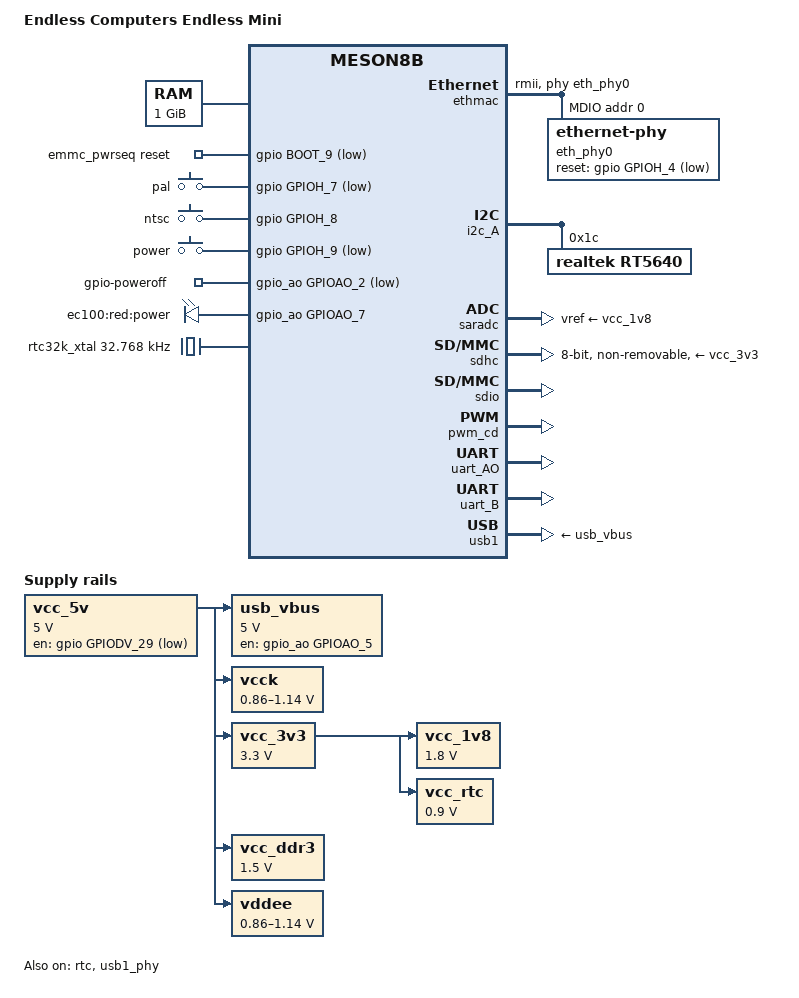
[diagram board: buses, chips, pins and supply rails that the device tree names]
// SPDX-License-Identifier: (GPL-2.0+ OR MIT)
/*
 * Copyright (c) 2018 Martin Blumenstingl <martin.blumenstingl@googlemail.com>.
 */

/dts-v1/;

#include <dt-bindings/gpio/gpio.h>
#include <dt-bindings/input/input.h>

#include "meson8b.dtsi"

/ {
	model = "Endless Computers Endless Mini";
	compatible = "endless,ec100", "amlogic,meson8b";

	aliases {
		serial0 = &uart_AO;
	};

	chosen {
		stdout-path = "serial0:115200n8";
	};

	memory {
		device_type = "memory";
		reg = <0x40000000 0x40000000>;
	};

	emmc_pwrseq: emmc-pwrseq {
		compatible = "mmc-pwrseq-emmc";
		reset-gpios = <&gpio BOOT_9 GPIO_ACTIVE_LOW>;
	};

	gpio-keys {
		compatible = "gpio-keys-polled";
		#address-cells = <1>;
		#size-cells = <0>;
		poll-interval = <100>;

		pal-switch {
			label = "pal";
			linux,input-type = <EV_SW>;
			linux,code = <KEY_SWITCHVIDEOMODE>;
			gpios = <&gpio GPIOH_7 GPIO_ACTIVE_LOW>;
		};

		ntsc-switch {
			label = "ntsc";
			linux,input-type = <EV_SW>;
			linux,code = <KEY_SWITCHVIDEOMODE>;
			gpios = <&gpio GPIOH_8 GPIO_ACTIVE_HIGH>;
		};

		power-button {
			label = "power";
			linux,code = <KEY_POWER>;
			gpios = <&gpio GPIOH_9 GPIO_ACTIVE_LOW>;
		};
	};

	gpio-poweroff {
		compatible = "gpio-poweroff";
		/*
		 * shutdown is managed by the EC (embedded micro-controller)
		 * which is configured through GPIOAO_2 (poweroff GPIO) and
		 * GPIOAO_7 (power LED, which has to go LOW as well).
		 */
		gpios = <&gpio_ao GPIOAO_2 GPIO_ACTIVE_LOW>;
		timeout-ms = <20000>;
	};

	leds {
		compatible = "gpio-leds";

		power {
			label = "ec100:red:power";
			/*
			 * Needs to go LOW (together with the poweroff GPIO)
			 * during shutdown to allow the EC (embedded
			 * micro-controller) to shutdown the system. Setting
			 * the output to LOW signals the EC to start a
			 * "breathing"/pulsing effect until the power is fully
			 * turned off.
			 */
			gpios = <&gpio_ao GPIOAO_7 GPIO_ACTIVE_HIGH>;
			default-state = "on";
		};
	};

	rtc32k_xtal: rtc32k-xtal-clk {
		/* X2 in the schematics */
		compatible = "fixed-clock";
		clock-frequency = <32768>;
		clock-output-names = "RTC32K";
		#clock-cells = <0>;
	};

	usb_vbus: regulator-usb-vbus {
		/*
		 * Silergy SY6288CCAC-GP 2A Power Distribution Switch.
		 */
		compatible = "regulator-fixed";

		regulator-name = "USB_VBUS";

		regulator-min-microvolt = <5000000>;
		regulator-max-microvolt = <5000000>;

		vin-supply = <&vcc_5v>;

		/*
		 * signal name from the schematics: USB_PWR_EN
		 */
		gpio = <&gpio_ao GPIOAO_5 GPIO_ACTIVE_HIGH>;
		enable-active-high;
	};

	vcc_5v: regulator-vcc5v {
		/*
		 * supplied by the main power input which called PWR_5V_STB
		 * in the schematics
		 */
		compatible = "regulator-fixed";

		regulator-name = "VCC5V";

		regulator-min-microvolt = <5000000>;
		regulator-max-microvolt = <5000000>;

		/*
		 * signal name from the schematics: 3V3_5V_EN
		 */
		gpio = <&gpio GPIODV_29 GPIO_ACTIVE_LOW>;

		regulator-boot-on;
		regulator-always-on;
	};

	vcck: regulator-vcck {
		/*
		 * Silergy SY8089AAC-GP 2A continuous, 3A peak, 1MHz
		 * Synchronous Step Down Regulator.
		 */
		compatible = "pwm-regulator";

		regulator-name = "VCCK";
		regulator-min-microvolt = <860000>;
		regulator-max-microvolt = <1140000>;

		vin-supply = <&vcc_5v>;

		pwms = <&pwm_cd 0 1148 0>;
		pwm-dutycycle-range = <100 0>;

		regulator-boot-on;
		regulator-always-on;
	};

	vcc_1v8: regulator-vcc1v8 {
		/*
		 * ABLIC S-1339D18-M5001-GP
		 */
		compatible = "regulator-fixed";

		regulator-name = "VCC1V8";
		regulator-min-microvolt = <1800000>;
		regulator-max-microvolt = <1800000>;

		vin-supply = <&vcc_3v3>;
	};

	vcc_3v3: regulator-vcc3v3 {
		/*
		 * Silergy SY8089AAC-GP 2A continuous, 3A peak, 1MHz
		 * Synchronous Step Down Regulator. Also called
		 * VDDIO_AO3.3V in the schematics.
		 */
		compatible = "regulator-fixed";

		regulator-name = "VCC3V3";
		regulator-min-microvolt = <3300000>;
		regulator-max-microvolt = <3300000>;

		vin-supply = <&vcc_5v>;
	};

	vcc_ddr3: regulator-vcc-ddr3 {
		/*
		 * Silergy SY8089AAC-GP 2A continuous, 3A peak, 1MHz
		 * Synchronous Step Down Regulator. Also called
		 * DDR3_1.5V in the schematics.
		 */
		compatible = "regulator-fixed";

		regulator-name = "VCC_DDR3_1V5";
		regulator-min-microvolt = <1500000>;
		regulator-max-microvolt = <1500000>;

		vin-supply = <&vcc_5v>;

		regulator-boot-on;
		regulator-always-on;
	};

	vcc_rtc: regulator-vcc-rtc {
		/*
		 * Global Mixed-mode Technology Inc. G918T12U-GP
		 */
		compatible = "regulator-fixed";

		regulator-name = "VCC_RTC";
		regulator-min-microvolt = <900000>;
		regulator-max-microvolt = <900000>;

		/*
		 * When the board is powered then the input is VCC3V3,
		 * otherwise power is taken from the coin cell battery.
		 */
		vin-supply = <&vcc_3v3>;
	};

	vddee: regulator-vddee {
		/*
		 * Silergy SY8089AAC-GP 2A continuous, 3A peak, 1MHz
		 * Synchronous Step Down Regulator. Also called VDDAO
		 * in a part of the schematics.
		 */
		compatible = "pwm-regulator";

		regulator-name = "VDDEE";
		regulator-min-microvolt = <860000>;
		regulator-max-microvolt = <1140000>;

		vin-supply = <&vcc_5v>;

		pwms = <&pwm_cd 1 1148 0>;
		pwm-dutycycle-range = <100 0>;

		regulator-boot-on;
		regulator-always-on;
	};
};

&cpu0 {
	cpu-supply = <&vcck>;
};

&ethmac {
	status = "okay";

	pinctrl-0 = <&eth_rmii_pins>;
	pinctrl-names = "default";

	phy-handle = <&eth_phy0>;
	phy-mode = "rmii";

	mdio {
		compatible = "snps,dwmac-mdio";
		#address-cells = <1>;
		#size-cells = <0>;

		eth_phy0: ethernet-phy@0 {
			/* IC Plus IP101A/G (0x02430c54) */
			reg = <0>;

			reset-assert-us = <10000>;
			reset-deassert-us = <10000>;
			reset-gpios = <&gpio GPIOH_4 GPIO_ACTIVE_LOW>;

			icplus,select-interrupt;
			interrupt-parent = <&gpio_intc>;
			/* GPIOH_3 */
			interrupts = <17 IRQ_TYPE_LEVEL_LOW>;
		};
	};
};

&i2c_A {
	status = "okay";
	pinctrl-0 = <&i2c_a_pins>;
	pinctrl-names = "default";

	rt5640: codec@1c {
		compatible = "realtek,rt5640";
		reg = <0x1c>;
		interrupt-parent = <&gpio_intc>;
		interrupts = <13 IRQ_TYPE_EDGE_BOTH>; /* GPIOAO_13 */
		realtek,in1-differential;
	};
};

&mali {
	mali-supply = <&vddee>;
};

&saradc {
	status = "okay";
	vref-supply = <&vcc_1v8>;
};

&sdhc {
	status = "okay";

	pinctrl-0 = <&sdxc_c_pins>;
	pinctrl-names = "default";

	bus-width = <8>;
	max-frequency = <50000000>;

	cap-mmc-highspeed;
	disable-wp;
	non-removable;
	no-sdio;

	mmc-pwrseq = <&emmc_pwrseq>;

	vmmc-supply = <&vcc_3v3>;
	vqmmc-supply = <&vcc_3v3>;
};

&sdio {
	status = "okay";

	pinctrl-0 = <&sd_b_pins>;
	pinctrl-names = "default";

	/* SD card */
	sd_card_slot: slot@1 {
		compatible = "mmc-slot";
		reg = <1>;
		status = "okay";

		bus-width = <4>;
		no-sdio;
		cap-mmc-highspeed;
		cap-sd-highspeed;
		disable-wp;

		cd-gpios = <&gpio CARD_6 GPIO_ACTIVE_LOW>;

		vmmc-supply = <&vcc_3v3>;
	};
};

&gpio_ao {
	gpio-line-names = "Linux_TX", "Linux_RX",
			  "SLP_S5_N", "USB2_OC_FLAG#",
			  "HUB_RST", "USB_PWR_EN",
			  "I2S_IN", "SLP_S1_N",
			  "TCK", "TMS", "TDI", "TDO",
			  "HDMI_CEC", "5640_IRQ",
			  "MUTE", "S805_TEST#";
};

&gpio {
	gpio-line-names = /* Bank GPIOX */
			  "WIFI_SD_D0", "WIFI_SD_D1", "WIFI_SD_D2",
			  "WIFI_SD_D3", "BTPCM_DOUT", "BTPCM_DIN",
			  "BTPCM_SYNC", "BTPCM_CLK", "WIFI_SD_CLK",
			  "WIFI_SD_CMD", "WIFI_32K", "WIFI_PWREN",
			  "UART_B_TX", "UART_B_RX", "UART_B_CTS_N",
			  "UART_B_RTS_N", "BT_EN", "WIFI_WAKE_HOST",
			  /* Bank GPIOY */
			  "", "", "", "", "", "", "", "", "", "",
			  "", "",
			  /* Bank GPIODV */
			  "VCCK_PWM_C", "I2C_SDA_A", "I2C_SCL_A",
			  "I2C_SDA_B", "I2C_SCL_B", "VDDEE_PWM_D",
			  "VDDEE_PWM 3V3_5V_EN",
			  /* Bank GPIOH */
			  "HDMI_HPD", "HDMI_I2C_SDA", "HDMI_I2C_SCL",
			  "RMII_IRQ", "RMII_RST#", "RMII_TXD1",
			  "RMII_TXD0", "AV_select_1", "AV_select_2",
			  "MCU_Control_S",
			  /* Bank CARD */
			  "SD_D1_B", "SD_D0_B", "SD_CLK_8726MX",
			  "SD_CMD_8726MX", "SD_D3_B", "SD_D2_B",
			  "CARD_EN_DET (CARD_DET)",
			  /* Bank BOOT */
			  "NAND_D0 (EMMC)", "NAND_D1 (EMMC)",
			  "NAND_D2 (EMMC)", "NAND_D3 (EMMC)",
			  "NAND_D4 (EMMC)", "NAND_D5 (EMMC)",
			  "NAND_D6 (EMMC)", "NAND_D7 (EMMC)",
			  "NAND_CS1 (EMMC)", "NAND_CS2 iNAND_RS1 (EMMC)",
			  "NAND_nR/B iNAND_CMD (EMMC)", "NAND_ALE (EMMC)",
			  "NAND_CLE (EMMC)", "nRE_S1 NAND_nRE (EMMC)",
			  "nWE_S1 NAND_nWE (EMMC)",  "", "", "SPI_CS",
			  /* Bank DIF */
			  "RMII_RXD1", "RMII_RXD0", "RMII_CRS_DV",
			  "RMII_50M_IN", "GPIODIF_4", "GPIODIF_5",
			  "RMII_TXEN", "CPUETH_25MOUT", "RMII_MDC",
			  "RMII_MDIO";
};

&pwm_cd {
	status = "okay";
	pinctrl-0 = <&pwm_c1_pins>, <&pwm_d_pins>;
	pinctrl-names = "default";
	clocks = <&xtal>, <&xtal>;
	clock-names = "clkin0", "clkin1";
};

&rtc {
	status = "okay";
	clocks = <&rtc32k_xtal>;
	vdd-supply = <&vcc_rtc>;
};

/* exposed through the pin headers labeled "URDUG1" on the top of the PCB */
&uart_AO {
	status = "okay";
	pinctrl-0 = <&uart_ao_a_pins>;
	pinctrl-names = "default";
};

/*
 * connected to the Bluetooth part of the RTL8723BS SDIO wifi / Bluetooth
 * combo chip. This is only available on the variant with 2GB RAM.
 */
&uart_B {
	status = "okay";
	pinctrl-0 = <&uart_b0_pins>, <&uart_b0_cts_rts_pins>;
	pinctrl-names = "default";
	uart-has-rtscts;
};

&usb1 {
	status = "okay";
	vbus-supply = <&usb_vbus>;
};

&usb1_phy {
	status = "okay";
};
